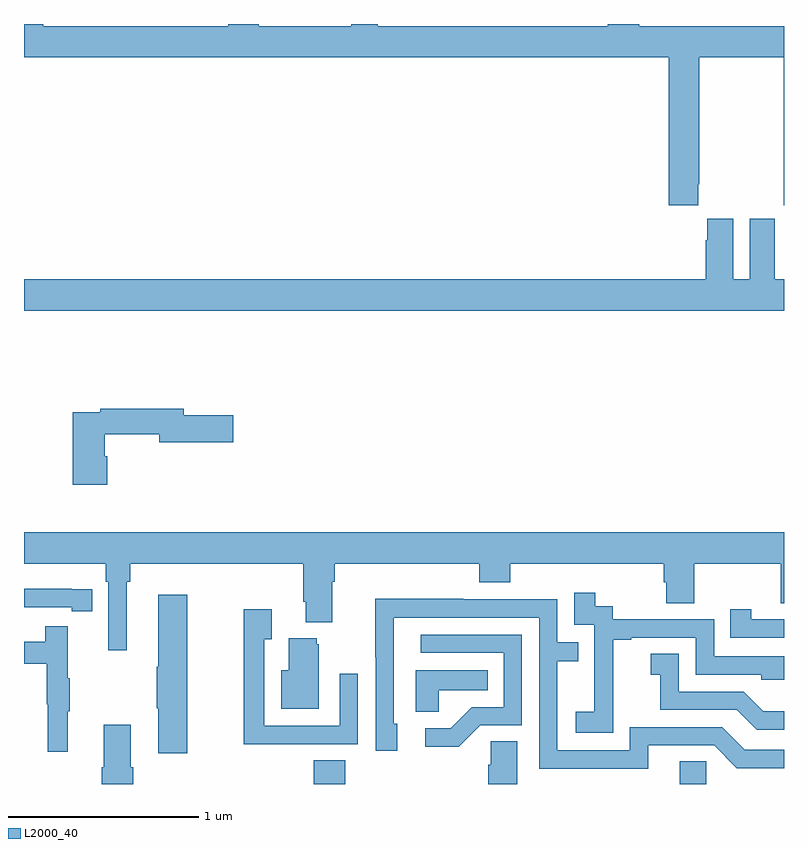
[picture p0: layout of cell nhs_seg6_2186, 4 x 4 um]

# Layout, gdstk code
import gdstk
lib = gdstk.Library(unit=1e-6, precision=1e-09)
def R(c, l, rs):  # rectangles x0, y0, x1, y1
    for r in rs: c.add(gdstk.rectangle(r[:2], r[2:], *l))
def P(c, l, *ps):  # polygons
    for p in ps: c.add(gdstk.Polygon(p, *l))
L2000_40 = (2000, 40)

nhs_seg6_2186 = lib.new_cell('nhs_seg6_2186')
R(nhs_seg6_2186, L2000_40, [(242.525,955.5,242.69,955.625), (244.451,955.5,244.59,955.619)])
P(nhs_seg6_2186, L2000_40, [(244.549,958.657),(244.554,958.657),(244.554,959.324),(244.999,959.324),(244.999,958.545),(245,958.545),(245,959.488),(244.238,959.488),(244.238,959.5),(244.073,959.5),(244.073,959.488),(242.862,959.488),(242.862,959.5),(242.723,959.5),(242.723,959.488),(242.235,959.488),(242.235,959.5),(242.075,959.5),(242.075,959.488),(241.1,959.488),(241.1,959.5),(241,959.5),(241,959.324),(244.394,959.324),(244.394,958.545),(244.549,958.545)],
  [(245,958.156),(244.951,958.156),(244.951,958.474),(244.82,958.474),(244.82,958.156),(244.732,958.156),(244.732,958.474),(244.595,958.474),(244.595,958.361),(244.589,958.361),(244.589,958.156),(241,958.156),(241,957.992),(245,957.992)],
  [(241.439,957.225),(241.426,957.225),(241.426,957.34),(241.712,957.34),(241.712,957.298),(242.101,957.298),(242.101,957.44),(241.84,957.44),(241.84,957.476),(241.402,957.476),(241.402,957.456),(241.256,957.456),(241.256,957.075),(241.439,957.075)],
  [(241,956.66),(241.43,956.66),(241.43,956.564),(241.443,956.564),(241.443,956.205),(241.54,956.205),(241.54,956.564),(241.559,956.564),(241.559,956.66),(242.471,956.66),(242.471,956.458),(242.483,956.458),(242.483,956.351),(242.623,956.351),(242.623,956.564),(242.636,956.564),(242.636,956.66),(243.395,956.66),(243.395,956.561),(243.56,956.561),(243.56,956.66),(244.367,956.66),(244.367,956.562),(244.379,956.562),(244.379,956.452),(244.527,956.452),(244.527,956.66),(244.984,956.66),(244.984,956.452),(245,956.452),(245,956.824),(241,956.824)],
  [(241.358,956.526),(241.25,956.526),(241.25,956.527),(241,956.527),(241,956.43),(241.25,956.43),(241.25,956.41),(241.358,956.41)],
  [(244.101,955.975),(244.1,955.975),(244.1,956.259),(244.195,956.259),(244.195,956.271),(244.536,956.271),(244.536,956.076),(244.881,956.076),(244.881,956.049),(245,956.049),(245,956.172),(244.632,956.172),(244.632,956.367),(244.098,956.367),(244.098,956.436),(244.006,956.436),(244.006,956.506),(243.897,956.506),(243.897,956.337),(244.002,956.337),(244.002,956.108),(244.001,956.108),(244.001,955.879),(243.903,955.879),(243.903,955.769),(244.101,955.769)],
  [(241.86,956.497),(241.706,956.497),(241.706,956.117),(241.699,956.117),(241.699,955.9),(241.706,955.9),(241.706,955.662),(241.86,955.662)],
  [(244.285,955.704),(244.632,955.704),(244.752,955.584),(245,955.584),(245,955.68),(244.794,955.68),(244.674,955.8),(244.188,955.8),(244.188,955.677),(243.807,955.677),(243.807,956.146),(243.917,956.146),(243.917,956.247),(243.807,956.247),(243.807,956.472),(243.311,956.472),(243.311,956.474),(242.848,956.474),(242.848,956.167),(242.85,956.167),(242.85,955.674),(242.965,955.674),(242.965,955.818),(242.946,955.818),(242.946,956.376),(243.711,956.376),(243.711,955.581),(244.285,955.581)],
  [(242.441,955.71),(242.757,955.71),(242.757,956.08),(242.661,956.08),(242.661,955.806),(242.265,955.806),(242.265,956.263),(242.305,956.263),(242.305,956.419),(242.157,956.419),(242.157,955.709),(242.441,955.709)],
  [(245,956.367),(244.828,956.367),(244.828,956.419),(244.717,956.419),(244.717,956.271),(245,956.271)],
  [(241.229,955.883),(241.24,955.883),(241.24,956.057),(241.229,956.057),(241.229,956.329),(241.111,956.329),(241.111,956.25),(241,956.25),(241,956.134),(241.119,956.134),(241.119,955.92),(241.126,955.92),(241.126,955.671),(241.229,955.671)],
  [(243.402,955.809),(243.621,955.809),(243.621,956.286),(243.087,956.286),(243.087,956.19),(243.525,956.19),(243.525,955.905),(243.356,955.905),(243.245,955.794),(243.111,955.794),(243.111,955.697),(243.289,955.697)],
  [(242.551,956.235),(242.54,956.235),(242.54,956.266),(242.393,956.266),(242.393,956.098),(242.354,956.098),(242.354,955.895),(242.551,955.895)],
  [(245,955.882),(244.892,955.882),(244.788,955.986),(244.446,955.986),(244.446,956.185),(244.299,956.185),(244.299,956.075),(244.348,956.075),(244.348,955.89),(244.751,955.89),(244.856,955.785),(245,955.785)],
  [(243.183,955.994),(243.44,955.994),(243.44,956.098),(243.062,956.098),(243.062,955.879),(243.183,955.879)],
  [(241.574,955.588),(241.561,955.588),(241.561,955.813),(241.421,955.813),(241.421,955.588),(241.409,955.588),(241.409,955.5),(241.574,955.5)],
  [(243.595,955.724),(243.456,955.724),(243.456,955.601),(243.443,955.601),(243.443,955.5),(243.595,955.5)])

lib.write_gds('nhs_seg6_2186.gds')
